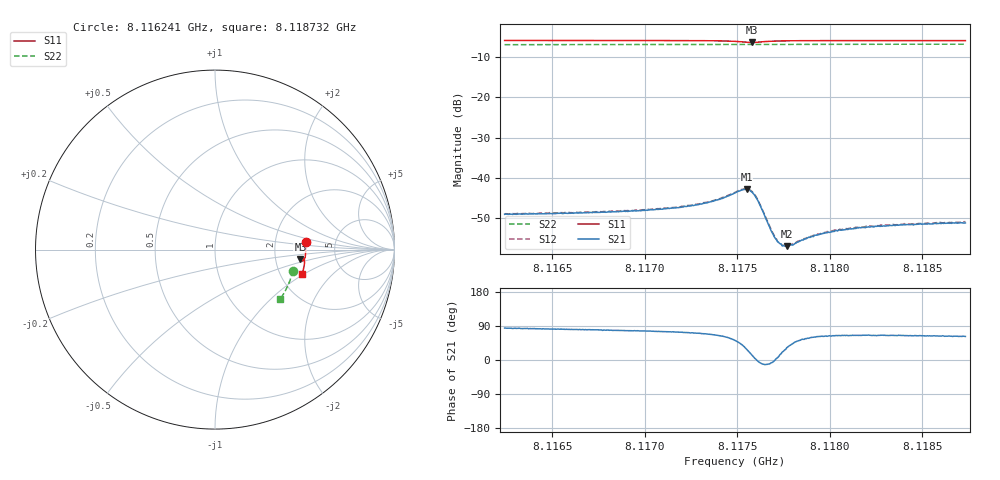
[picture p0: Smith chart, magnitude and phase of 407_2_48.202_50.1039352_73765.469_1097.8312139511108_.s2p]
#  HZ  S  RI  R  50.00
! Rohde & Schwarz Vector Network Analyzer
! Rohde-Schwarz,ZNB20-2Port,1311601062101988,3.16
! Created: UTC 3/20/2024, 11:54:16 AM
! freq[Hz]  re:S11  im:S11  re:S21  im:S21  re:S12  im:S12  re:S22  im:S22
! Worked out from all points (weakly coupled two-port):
!   401 points, 8.116241 GHz to 8.118732 GHz, reference 50 ohm
!   highest |S21| = -42.83 dB at 8.117549 GHz (marker M1); lowest = -56.9 dB at 8.117767 GHz (marker M2)
!   lowest |S11| = -6.4 dB at 8.11758 GHz (marker M3), VSWR 2.84, Z = 139 - j19.1 ohm
!   |S11| at or under -10 dB: nowhere
!   |S22| runs from -6.9 to -6.8 dB; largest |S21 - S12| = 0.00018
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8.1162412e9  0.5054 0.0403  0.000352 0.00353  0.000399 0.00356  0.4338 -0.1177
8.1166584e9  0.5064 0.00877  0.000636 0.00364  0.000692 0.00368  0.4264 -0.1455
8.1170757e9  0.505 -0.0238  0.00102 0.00396  0.0011 0.00399  0.4171 -0.1732
8.1171878e9  0.5039 -0.0331  0.00124 0.00412  0.0013 0.00418  0.4143 -0.1805
8.1172937e9  0.5022 -0.0424  0.00157 0.00444  0.00164 0.00448  0.4114 -0.1874
8.1174058e9  0.4983 -0.0535  0.00241 0.00487  0.00251 0.00497  0.4082 -0.1948
8.1174867e9  0.4905 -0.0616  0.00405 0.00514  0.00413 0.00519  0.4058 -0.2
8.1175241e9  0.4836 -0.0628  0.0054 0.0046  0.00553 0.00462  0.4043 -0.2022
8.117549e9  0.4784 -0.0602  0.00632 0.00348  0.0065 0.00349  0.4034 -0.2032
8.1175801e9  0.4761 -0.0529  0.00648 0.00137  0.00662 0.00132  0.4025 -0.205
8.1176113e9  0.4806 -0.0465  0.00519 -0.00032  0.00528 -0.000358  0.4019 -0.2066
8.117686e9  0.494 -0.0503  0.00211 -0.000256  0.00217 -0.00031  0.4004 -0.2114
8.1177109e9  0.496 -0.0534  0.0017 0.000121  0.00175 0.000109  0.3997 -0.2131
8.1177358e9  0.4973 -0.0564  0.00145 0.000431  0.00147 0.000397  0.3991 -0.2147
8.117767e9  0.4982 -0.0601  0.0012 0.000767  0.00124 0.0008  0.398 -0.2169
8.1177919e9  0.4986 -0.0629  0.00112 0.000974  0.00115 0.000954  0.3973 -0.2182
8.117904e9  0.4986 -0.0738  0.000954 0.00163  0.000957 0.00163  0.394 -0.2255
8.1179912e9  0.498 -0.0816  0.000957 0.0019  0.00103 0.00188  0.391 -0.231
8.1180784e9  0.4968 -0.0887  0.000955 0.00207  0.00103 0.00211  0.3881 -0.2363
8.1181593e9  0.4957 -0.0951  0.00103 0.00221  0.00106 0.0022  0.3852 -0.2414
8.1183212e9  0.4931 -0.1074  0.0011 0.00233  0.00114 0.00235  0.3795 -0.2511
8.1187323e9  0.4853 -0.1378  0.0013 0.00245  0.00139 0.00252  0.364 -0.2753
